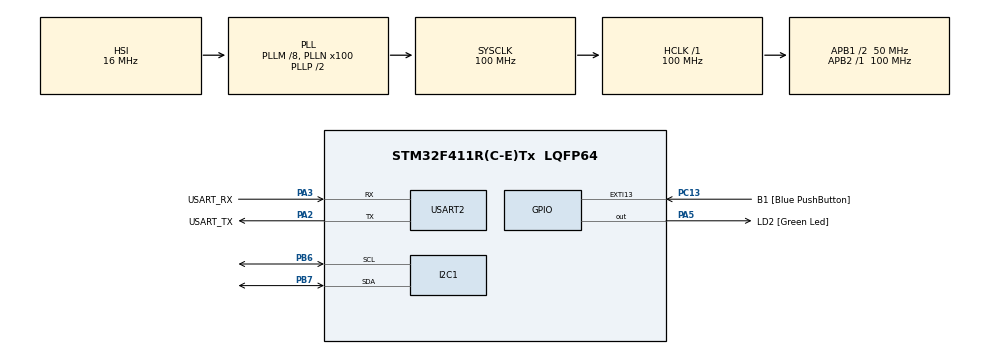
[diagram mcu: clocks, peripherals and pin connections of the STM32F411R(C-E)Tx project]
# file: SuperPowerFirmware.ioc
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Dma.I2C1_RX.1.Direction=DMA_PERIPH_TO_MEMORY
Dma.I2C1_RX.1.FIFOMode=DMA_FIFOMODE_DISABLE
Dma.I2C1_RX.1.Instance=DMA1_Stream0
Dma.I2C1_RX.1.MemDataAlignment=DMA_MDATAALIGN_BYTE
Dma.I2C1_RX.1.MemInc=DMA_MINC_ENABLE
Dma.I2C1_RX.1.Mode=DMA_CIRCULAR
Dma.I2C1_RX.1.PeriphDataAlignment=DMA_PDATAALIGN_BYTE
Dma.I2C1_RX.1.PeriphInc=DMA_PINC_DISABLE
Dma.I2C1_RX.1.Priority=DMA_PRIORITY_VERY_HIGH
Dma.I2C1_TX.0.Direction=DMA_MEMORY_TO_PERIPH
Dma.I2C1_TX.0.FIFOMode=DMA_FIFOMODE_DISABLE
Dma.I2C1_TX.0.Instance=DMA1_Stream1
Dma.I2C1_TX.0.MemDataAlignment=DMA_MDATAALIGN_BYTE
Dma.I2C1_TX.0.MemInc=DMA_MINC_ENABLE
Dma.I2C1_TX.0.Mode=DMA_CIRCULAR
Dma.I2C1_TX.0.PeriphDataAlignment=DMA_PDATAALIGN_BYTE
Dma.I2C1_TX.0.PeriphInc=DMA_PINC_DISABLE
Dma.I2C1_TX.0.Priority=DMA_PRIORITY_VERY_HIGH
Dma.Request0=I2C1_TX
Dma.Request1=I2C1_RX
I2C1.DualAddressMode=I2C_DUALADDRESS_ENABLE
I2C1.I2C_Mode=I2C_Fast
I2C1.NoStretchMode=I2C_NOSTRETCH_DISABLE
I2C1.OwnAddress=20
I2C1.OwnAddress2=21
Mcu.Family=STM32F4
Mcu.Name=STM32F411R(C-E)Tx
Mcu.Package=LQFP64
NVIC.DMA1_Stream0_IRQn=true\:0\:0\:false\:false\:true\:false\:true
NVIC.DMA1_Stream1_IRQn=true\:0\:0\:false\:false\:true\:false\:true
NVIC.I2C1_ER_IRQn=true\:0\:0\:false\:false\:true\:true\:true
NVIC.I2C1_EV_IRQn=true\:0\:0\:false\:false\:true\:true\:true
NVIC.PriorityGroup=NVIC_PRIORITYGROUP_4
PA13.GPIO_Label=TMS
PA13.Mode=Serial_Wire
PA13.Signal=SYS_JTMS-SWDIO
PA14.GPIO_Label=TCK
PA14.Mode=Serial_Wire
PA14.Signal=SYS_JTCK-SWCLK
PA2.GPIO_Label=USART_TX
PA2.Mode=Asynchronous
PA2.Signal=USART2_TX
PA3.GPIO_Label=USART_RX
PA3.Mode=Asynchronous
PA3.Signal=USART2_RX
PA5.GPIO_Label=LD2 [Green Led]
PA5.Signal=GPIO_Output
PB6.Mode=I2C
PB6.Signal=I2C1_SCL
PB7.Mode=I2C
PB7.Signal=I2C1_SDA
PC13-ANTI_TAMP.GPIO_Label=B1 [Blue PushButton]
PC13-ANTI_TAMP.GPIO_ModeDefaultEXTI=GPIO_MODE_IT_FALLING
PC13-ANTI_TAMP.Signal=GPXTI13
PC14-OSC32_IN.Signal=RCC_OSC32_IN
PC15-OSC32_OUT.Signal=RCC_OSC32_OUT
PH0\ -\ OSC_IN.Signal=RCC_OSC_IN
PH1\ -\ OSC_OUT.Signal=RCC_OSC_OUT
ProjectManager.HeapSize=0x200
ProjectManager.StackSize=0x400
ProjectManager.TargetToolchain=STM32CubeIDE
RCC.48MHZClocksFreq_Value=50000000
RCC.AHBFreq_Value=100000000
RCC.APB1CLKDivider=RCC_HCLK_DIV2
RCC.APB1Freq_Value=50000000
RCC.APB1TimFreq_Value=100000000
RCC.APB2Freq_Value=100000000
RCC.APB2TimFreq_Value=100000000
RCC.CortexFreq_Value=100000000
RCC.FLatency-AdvancedSettings=FLASH_LATENCY_3
RCC.HCLKFreq_Value=100000000
RCC.HSE_VALUE=8000000
RCC.HSI_VALUE=16000000
RCC.LSE_VALUE=32768
RCC.PLLM=8
RCC.PLLN=100
RCC.RCC_RTC_Clock_Source=RCC_RTCCLKSOURCE_LSI
RCC.RCC_RTC_Clock_SourceVirtual=RCC_RTCCLKSOURCE_LSE
RCC.RCC_RTC_Clock_Source_FROM_HSE=RCC_RTCCLKSOURCE_HSE_DIV8
RCC.SYSCLKFreq_VALUE=100000000
RCC.SYSCLKSource=RCC_SYSCLKSOURCE_PLLCLK
RCC.VCOOutputFreq_Value=200000000
USART2.VirtualMode=VM_ASYNC
VP_RTC_VS_RTC_Activate.Mode=RTC_Enabled
VP_RTC_VS_RTC_Calendar.Mode=RTC_Calendar
board=NUCLEO-F411RE

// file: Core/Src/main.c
/* USER CODE BEGIN Header */
/**
 ******************************************************************************
 * @file           : main.c
 * @brief          : Main program body
 ******************************************************************************
 * @attention
 *
 * <h2><center>&copy; Copyright (c) 2020 STMicroelectronics.
 * All rights reserved.</center></h2>
 *
 * This software component is licensed by ST under BSD 3-Clause license,
 * the "License"; You may not use this file except in compliance with the
 * License. You may obtain a copy of the License at:
 *                        opensource.org/licenses/BSD-3-Clause
 *
 ******************************************************************************
 */
/* USER CODE END Header */
#include "main.h"
#include "dma.h"
#include "i2c.h"
#include "rtc.h"
#include "usart.h"
#include "gpio.h"

/* USER CODE BEGIN Includes */
#include "string.h"
#include "DS3231.h"
/* USER CODE END Includes */

void SystemClock_Config(void);
/* USER CODE BEGIN PFP */

__IO uint8_t transferDirection = 0;
#define SLAVE_BUFFER_SIZE 32
uint8_t slaveReceiveBuffer[SLAVE_BUFFER_SIZE];
uint8_t* slaveTransmitBuffer;
__IO uint16_t sizeOfData;

RTC_TimeTypeDef time;
RTC_DateTypeDef date;
char timebuffer[] = {1,2,3,4,5,6,7,8,0,0,0};
uint16_t addr = 0;
//uint8_t cmdSize = 0;
/* USER CODE END PFP */

/* USER CODE BEGIN 0 */
void jumpToBootloader(){
	void (*sysMemBootJump)(void);
	volatile uint32_t addr = 0x1FFF0000;
	HAL_RCC_DeInit();
	SysTick->CTRL = 0;
	SysTick->LOAD = 0;
	SysTick->VAL = 0;
	__disable_irq();
	__HAL_SYSCFG_REMAPMEMORY_SYSTEMFLASH();
	sysMemBootJump = (void(*)(void))(*((uint32_t *)(addr + 4)));
	__set_MSP(*(uint32_t *)addr);
	sysMemBootJump();
}

typedef struct {
	uint16_t addres;
	uint8_t cmd_size;
	uint8_t data[SLAVE_BUFFER_SIZE + 1];
}i2c_cmd;

i2c_cmd test;

char* getRegister(uint8_t reg){
	//ds3231 rt;
	//rt.seconds.seconds = 0;
	char* ptr = NULL;

	HAL_RTC_GetTime(&hrtc, &time, RTC_FORMAT_BCD);
	HAL_RTC_GetDate(&hrtc, &date, RTC_FORMAT_BCD);

	timebuffer[0] = time.Seconds;
	timebuffer[1] = time.Minutes;
	timebuffer[2] = time.Hours;
	timebuffer[3] = date.WeekDay;
	timebuffer[4] = date.Date;
	timebuffer[5] = date.Month;
	timebuffer[6] = date.Year;

	if(reg <= 6){
	  ptr = &timebuffer[(uint8_t)reg];
	}
	return ptr;
}

uint8_t ds3231_cmd_decode(i2c_cmd msg){
	RTC_TimeTypeDef time;
	RTC_DateTypeDef date;
	//ds3231 data;
	uint8_t size = msg.cmd_size;
	//memcpy(data.array, msg.data, size);
	uint8_t i = 1;
	switch (msg.data[0]) {
	case 0:
		if(size-- > 0){
			time.SecondFraction = 0;
			time.Seconds = msg.data[i];
			i++;
		}else{
			break;
		}
	case 1:
		if(size-- > 0){
			time.Minutes = msg.data[i];
			i++;
		}else{
			break;
		}
	case 2:
		if(size-- > 0){
			time.Hours = msg.data[i];
			i++;
		}else{
			break;
		}
	case 3:
		if(size-- > 0){
			date.WeekDay = msg.data[i];
			i++;
		}else{
			break;
		}
	case 4:
		if(size-- > 0){
			date.Date= msg.data[i];
			i++;
		}else{
			break;
		}
	case 5:
		if(size-- > 0){
			date.Month= msg.data[i];
			i++;
		}else{
			break;
		}
	case 6:
		if(size-- > 0){
			date.Year= msg.data[i];
			i++;
		}else{
			break;
		}
	default:
		if(size < 0)
		return HAL_ERROR;
	}
	HAL_RTC_SetTime(&hrtc, &time, RTC_FORMAT_BCD);
		HAL_RTC_SetDate(&hrtc, &date, RTC_FORMAT_BCD);
	return HAL_OK;
}

void HAL_I2C_AddrCallback(I2C_HandleTypeDef *hi2c, uint8_t TransferDirection, uint16_t AddrMatchCode){
	UNUSED(hi2c);
	switch(TransferDirection){
	case I2C_DIRECTION_TRANSMIT:
		addr = AddrMatchCode;
		test.addres = addr;
		//HAL_I2C_Slave_Seq_Receive_IT(&hi2c1, slaveReceiveBuffer, SLAVE_BUFFER_SIZE, I2C_FIRST_FRAME);
		HAL_I2C_Slave_Seq_Receive_DMA(&hi2c1, slaveReceiveBuffer, SLAVE_BUFFER_SIZE, I2C_FIRST_FRAME);
		break;
	case I2C_DIRECTION_RECEIVE:
		slaveTransmitBuffer = (uint8_t*)getRegister(slaveReceiveBuffer[0]);
		sizeOfData = 8;
		HAL_I2C_Slave_Seq_Transmit_DMA(&hi2c1, slaveTransmitBuffer, sizeOfData, I2C_LAST_FRAME);
		break;
	default:
		break;
	}
}

void HAL_I2C_ListenCpltCallback(I2C_HandleTypeDef *hi2c){
	HAL_I2C_EnableListen_IT(&hi2c1); // Restart
	test.cmd_size = (uint8_t)(SLAVE_BUFFER_SIZE - hi2c->XferCount);
	if(test.cmd_size > 0 && test.cmd_size < SLAVE_BUFFER_SIZE){
		memcpy(test.data, slaveReceiveBuffer, test.cmd_size);
		ds3231_cmd_decode(test);
		memset(slaveReceiveBuffer, 0, SLAVE_BUFFER_SIZE);
	}

}

/* USER CODE END 0 */

int main(void)
{
  /* USER CODE BEGIN 1 */

	//jumpToBootloader();
  /* USER CODE END 1 */

  /* MCU Configuration--------------------------------------------------------*/

  /* Reset of all peripherals, Initializes the Flash interface and the Systick. */
  HAL_Init();

  /* Configure the system clock */
  SystemClock_Config();

  /* Initialize all configured peripherals */
  MX_GPIO_Init();
  MX_DMA_Init();
  MX_I2C1_Init();
  MX_RTC_Init();
  MX_USART2_UART_Init();
  /* USER CODE BEGIN 2 */
	HAL_I2C_EnableListen_IT(&hi2c1);
  /* USER CODE END 2 */

  /* Infinite loop */
	while (1)
	{

	}
}

void SystemClock_Config(void)
{
  RCC_OscInitTypeDef RCC_OscInitStruct = {0};
  RCC_ClkInitTypeDef RCC_ClkInitStruct = {0};
  RCC_PeriphCLKInitTypeDef PeriphClkInitStruct = {0};

  /** Configure the main internal regulator output voltage
  */
  __HAL_RCC_PWR_CLK_ENABLE();
  __HAL_PWR_VOLTAGESCALING_CONFIG(PWR_REGULATOR_VOLTAGE_SCALE1);
  /** Initializes the RCC Oscillators according to the specified parameters
  * in the RCC_OscInitTypeDef structure.
  */
  RCC_OscInitStruct.OscillatorType = RCC_OSCILLATORTYPE_HSI|RCC_OSCILLATORTYPE_LSI;
  RCC_OscInitStruct.HSIState = RCC_HSI_ON;
  RCC_OscInitStruct.HSICalibrationValue = RCC_HSICALIBRATION_DEFAULT;
  RCC_OscInitStruct.LSIState = RCC_LSI_ON;
  RCC_OscInitStruct.PLL.PLLState = RCC_PLL_ON;
  RCC_OscInitStruct.PLL.PLLSource = RCC_PLLSOURCE_HSI;
  RCC_OscInitStruct.PLL.PLLM = 8;
  RCC_OscInitStruct.PLL.PLLN = 100;
  RCC_OscInitStruct.PLL.PLLP = RCC_PLLP_DIV2;
  RCC_OscInitStruct.PLL.PLLQ = 4;
  if (HAL_RCC_OscConfig(&RCC_OscInitStruct) != HAL_OK)
  {
    Error_Handler();
  }
  /** Initializes the CPU, AHB and APB buses clocks
  */
  RCC_ClkInitStruct.ClockType = RCC_CLOCKTYPE_HCLK|RCC_CLOCKTYPE_SYSCLK
                              |RCC_CLOCKTYPE_PCLK1|RCC_CLOCKTYPE_PCLK2;
  RCC_ClkInitStruct.SYSCLKSource = RCC_SYSCLKSOURCE_PLLCLK;
  RCC_ClkInitStruct.AHBCLKDivider = RCC_SYSCLK_DIV1;
  RCC_ClkInitStruct.APB1CLKDivider = RCC_HCLK_DIV2;
  RCC_ClkInitStruct.APB2CLKDivider = RCC_HCLK_DIV1;

  if (HAL_RCC_ClockConfig(&RCC_ClkInitStruct, FLASH_LATENCY_3) != HAL_OK)
  {
    Error_Handler();
  }
  PeriphClkInitStruct.PeriphClockSelection = RCC_PERIPHCLK_RTC;
  PeriphClkInitStruct.RTCClockSelection = RCC_RTCCLKSOURCE_LSI;
  if (HAL_RCCEx_PeriphCLKConfig(&PeriphClkInitStruct) != HAL_OK)
  {
    Error_Handler();
  }
}

void Error_Handler(void)
{
}

#ifdef  USE_FULL_ASSERT
/**
  * @brief  Reports the name of the source file and the source line number
  *         where the assert_param error has occurred.
  * @param  file: pointer to the source file name
  * @param  line: assert_param error line source number
  * @retval None
  */
void assert_failed(uint8_t *file, uint32_t line)
{
  /* USER CODE BEGIN 6 */
	 /* User can add his own implementation to report the file name and line number,
     tex: printf("Wrong parameters value: file %s on line %d\r\n", file, line) */
	 UNUSED(file);
	 UNUSED(line);
  /* USER CODE END 6 */
}
#endif /* USE_FULL_ASSERT */

/************************ (C) COPYRIGHT STMicroelectronics *****END OF FILE****/
